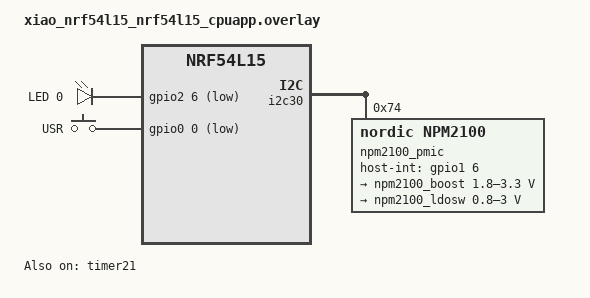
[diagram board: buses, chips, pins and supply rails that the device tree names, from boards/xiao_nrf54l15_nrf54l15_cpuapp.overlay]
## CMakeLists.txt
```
# SPDX-License-Identifier: Apache-2.0

cmake_minimum_required(VERSION 3.20.0)
find_package(Zephyr REQUIRED HINTS $ENV{ZEPHYR_BASE})
project(factory_test)

FILE(GLOB app_sources src/*.c)
target_sources(app PRIVATE ${app_sources})
```

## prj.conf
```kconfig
CONFIG_LOG=y
CONFIG_LOG_DEFAULT_LEVEL=3
CONFIG_PRINTK=y

CONFIG_SERIAL=y
CONFIG_UART_CONSOLE=y

CONFIG_SHELL=y
CONFIG_SHELL_BACKEND_SERIAL=y

CONFIG_GPIO=y
CONFIG_GPIO_SHELL=y
CONFIG_I2C=y
CONFIG_I2C_SHELL=y
CONFIG_REGULATOR=y

CONFIG_REBOOT=y
CONFIG_DK_LIBRARY=y

# Bluetooth (scan + advertise)
CONFIG_BT=y
CONFIG_BT_DEVICE_NAME="nPM2100&nRF54L15-BLE"
CONFIG_BT_OBSERVER=y
CONFIG_BT_BROADCASTER=y

# NFC (Type 2 Tag)
CONFIG_NFC_T2T_NRFXLIB=y
CONFIG_NFC_NDEF=y
CONFIG_NFC_NDEF_MSG=y
CONFIG_NFC_NDEF_RECORD=y
CONFIG_NFC_NDEF_TEXT_RECORD=y

# Memory/stack headroom for shell + BT + NFC
CONFIG_HEAP_MEM_POOL_SIZE=8192
CONFIG_MAIN_STACK_SIZE=2048

CONFIG_PM_DEVICE=y
CONFIG_CRC=y
CONFIG_POWEROFF=y
CONFIG_HWINFO=y

# GRTC counter for RTC test
CONFIG_COUNTER=y
CONFIG_NRFX_GRTC=y

# Enable floating-point support in logging
CONFIG_CBPRINTF_FP_SUPPORT=y
```

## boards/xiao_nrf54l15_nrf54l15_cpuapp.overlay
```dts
/ {

	leds {
		compatible = "gpio-leds";

		led0: led_0 {
			gpios = <&gpio2 6 GPIO_ACTIVE_LOW>;
			label = "LED 0";
		};
	};

	buttons: buttons {
		compatible = "gpio-keys";

		usr_btn: usr-btn {
			gpios = <&gpio0 0 (GPIO_PULL_UP | GPIO_ACTIVE_LOW)>;
			label = "USR";
		};
	};

	aliases {
		led0 = &led0;
		sw0 = &usr_btn;
	};
};


&i2c30 {
	status = "okay";

	npm2100_pmic: pmic@74 {
		compatible = "nordic,npm2100";
		reg = <0x74>;
		pmic-int-pin = <1>;
		pmic-int-flags = <GPIO_ACTIVE_HIGH>;
		host-int-type = "level";
		shiphold-longpress = "ship";

		npm2100_gpio: gpio-controller {
			compatible = "nordic,npm2100-gpio";
			gpio-controller;
			#gpio-cells = <2>;
			ngpios = <2>;
		};

		npm2100_regulators: regulators {
			compatible = "nordic,npm2100-regulator";

			npm2100_boost: BOOST {
				regulator-min-microvolt = <1800000>;
				regulator-max-microvolt = <3300000>;
				regulator-init-microvolt= <3300000>;
				regulator-boot-on;
				regulator-init-microamp = <0>;
			};

			npm2100_ldosw: LDOSW {
				regulator-min-microvolt = <800000>;
				regulator-max-microvolt = <3000000>;
			};
		};

		npm2100_wdt: watchdog {
			compatible = "nordic,npm2100-wdt";
		};

		npm2100_vbat: vbat {
			compatible = "nordic,npm2100-vbat";
		};
	};
};

&npm2100_pmic {
	host-int-gpios = <&gpio1 6 GPIO_ACTIVE_HIGH>;
};

&timer21 {
	status = "okay";
};

&pinctrl {
	uart20_default: uart20_default {
		group1 {
			psels = <NRF_PSEL(UART_TX, 1, 12)>;
		};

		group2 {
			psels = <NRF_PSEL(UART_RX, 1, 11)>;
			bias-pull-up;
		};
	};

	uart20_sleep: uart20_sleep {
		group1 {
			psels = <NRF_PSEL(UART_TX, 1, 12)>,
				<NRF_PSEL(UART_RX, 1, 11)>;
			low-power-enable;
		};
	};
};
```

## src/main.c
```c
#include <zephyr/kernel.h>
#include <zephyr/device.h>
#include <zephyr/drivers/gpio.h>
#include <zephyr/logging/log.h>
#include <zephyr/shell/shell.h>
#include <zephyr/sys/atomic.h>
#include <zephyr/sys/printk.h>
#include <zephyr/sys/reboot.h>
#include <zephyr/sys/poweroff.h>
#include <zephyr/sys/util.h>

#include <string.h>

#include <zephyr/bluetooth/bluetooth.h>
#include <zephyr/bluetooth/hci.h>

#include <nfc_t2t_lib.h>
#include <nfc/ndef/msg.h>
#include <nfc/ndef/text_rec.h>

#include <zephyr/drivers/mfd/npm2100.h>
#include <zephyr/drivers/regulator.h>
#include <zephyr/drivers/timer/nrf_grtc_timer.h>
#include <zephyr/drivers/i2c.h>

#include <stdlib.h>
#include <zephyr/drivers/clock_control.h>
#include <zephyr/drivers/clock_control/nrf_clock_control.h>
#include <zephyr/drivers/counter.h>
#include <zephyr/sys/timeutil.h>

#define DEEP_SLEEP_TIME_S 5
#define MEASURE_TIME_S 10
#define SCAN_TIMEOUT_S 5
#define MAX_SCANNED_DEVICES 20

LOG_MODULE_REGISTER(factory_test, LOG_LEVEL_INF);

static void scan_print_and_reset(int batch_size);

enum factory_mode {
	FACTORY_MODE_WORK = 0,
	FACTORY_MODE_TEST = 1,
};

static atomic_t g_mode = ATOMIC_INIT(FACTORY_MODE_WORK);
static atomic_t g_bt_scan_running;
static atomic_t g_bt_adv_running;
static atomic_t g_nfc_running;
static atomic_t g_nfc_active;

struct scanned_device {
	bt_addr_le_t addr;
	int8_t rssi;
	uint8_t type;
	char name[30];  // Buffer for device name, adjust size if needed (max BLE name length is 29 + null)
};

static struct scanned_device devices[MAX_SCANNED_DEVICES];
static int device_count = 0;
static int device_index = 0;
static struct k_timer scan_print_timer;

static const struct device *pmic = DEVICE_DT_GET(DT_NODELABEL(npm2100_pmic));
static const struct device *regulators = DEVICE_DT_GET(DT_NODELABEL(npm2100_regulators));
static bool shipmode;
static bool system_off_flag;
static const struct device *i2c_dev = DEVICE_DT_GET(DT_BUS(DT_NODELABEL(npm2100_pmic)));
static uint8_t pmic_addr = DT_REG_ADDR(DT_NODELABEL(npm2100_pmic));

static const struct device *const sys_clock = DEVICE_DT_GET_ONE(nordic_nrf_clock);
static const struct device *const timer = DEVICE_DT_GET(DT_NODELABEL(timer21));
static bool lfxo_initialized;

static const struct gpio_dt_spec led = GPIO_DT_SPEC_GET_OR(DT_ALIAS(led0), gpios, {0});
static const struct gpio_dt_spec reset_btn = GPIO_DT_SPEC_GET_OR(DT_ALIAS(sw0), gpios, {0});
static struct gpio_callback reset_btn_cb;

static const struct gpio_dt_spec pmic_int_pin = GPIO_DT_SPEC_GET_BY_IDX(DT_NODELABEL(npm2100_pmic), host_int_gpios, 0);
static struct gpio_callback pmic_int_cb;
static struct k_work pmic_int_work;

static void reset_btn_isr(const struct device *dev, struct gpio_callback *cb, uint32_t pins)
{
	ARG_UNUSED(dev);
	ARG_UNUSED(cb);
	ARG_UNUSED(pins);
	LOG_WRN("Reset button pressed -> reboot");
	sys_reboot(SYS_REBOOT_COLD);
}

static void pmic_int_isr(const struct device *dev, struct gpio_callback *cb, uint32_t pins)
{
	ARG_UNUSED(dev);
	ARG_UNUSED(cb);
	ARG_UNUSED(pins);

	k_work_submit(&pmic_int_work);
}

static void pmic_int_work_handler(struct k_work *work)
{
	ARG_UNUSED(work);

	// Read EVENTS_GPIO_SET (0x02)
	uint8_t events;
	int ret = i2c_reg_read_byte(i2c_dev, pmic_addr, 0x02, &events);
	if (ret) {
		LOG_ERR("Failed to read EVENTS_GPIO_SET: %d", ret);
		return;
	}

	if (events & 0x01) { // GPIO0FALL
		LOG_INF("PMIC GPIO0 falling edge detected");
	}
	if (events & 0x02) { // GPIO0RISE
		LOG_INF("PMIC GPIO0 rising edge detected");
	}

	// Clear events by writing to EVENTS_GPIO_CLR (0x07)
	ret = i2c_reg_write_byte(i2c_dev, pmic_addr, 0x07, events & 0x03);
	if (ret) {
		LOG_ERR("Failed to clear events: %d", ret);
	}
}

static int reset_button_init(void)
{
	int err;

	if (!gpio_is_ready_dt(&reset_btn)) {
		LOG_ERR("Reset button GPIO not ready");
		return -ENODEV;
	}

	err = gpio_pin_configure_dt(&reset_btn, GPIO_INPUT);
	if (err) {
		LOG_ERR("Reset button configure failed: %d", err);
		return err;
	}

	err = gpio_pin_interrupt_configure_dt(&reset_btn, GPIO_INT_EDGE_TO_ACTIVE);
	if (err) {
		LOG_ERR("Reset button interrupt config failed: %d", err);
		return err;
	}

	gpio_init_callback(&reset_btn_cb, reset_btn_isr, BIT(reset_btn.pin));
	err = gpio_add_callback(reset_btn.port, &reset_btn_cb);
	if (err) {
		LOG_ERR("Reset button add callback failed: %d", err);
		return err;
	}

	return 0;
}

static int pmic_int_init(void)
{
	int err;

	k_work_init(&pmic_int_work, pmic_int_work_handler);

	if (!gpio_is_ready_dt(&pmic_int_pin)) {
		LOG_ERR("PMIC INT GPIO not ready");
		return -ENODEV;
	}

	err = gpio_pin_configure_dt(&pmic_int_pin, GPIO_INPUT);
	if (err) {
		LOG_ERR("PMIC INT GPIO configure failed: %d", err);
		return err;
	}

	err = gpio_pin_interrupt_configure_dt(&pmic_int_pin, GPIO_INT_EDGE_TO_ACTIVE);
	if (err) {
		LOG_ERR("PMIC INT GPIO interrupt config failed: %d", err);
		return err;
	}

	gpio_init_callback(&pmic_int_cb, pmic_int_isr, BIT(pmic_int_pin.pin));
	err = gpio_add_callback(pmic_int_pin.port, &pmic_int_cb);
	if (err) {
		LOG_ERR("PMIC INT GPIO add callback failed: %d", err);
		return err;
	}

	return 0;
}

static int led_init(void)
{
	if (!gpio_is_ready_dt(&led)) {
		LOG_WRN("LED not ready; skipping LED blink");
		return -ENODEV;
	}

	return gpio_pin_configure_dt(&led, GPIO_OUTPUT_INACTIVE);
}

static void led_set(bool on)
{
	if (!gpio_is_ready_dt(&led)) {
		return;
	}
	(void)gpio_pin_set_dt(&led, on ? 1 : 0);
}

static void led_toggle(void)
{
	if (!gpio_is_ready_dt(&led)) {
		return;
	}
	(void)gpio_pin_toggle_dt(&led);
}

static void led_worker_thread(void)
{
	while (true) {
		if (atomic_get(&g_mode) == FACTORY_MODE_WORK) {
			led_toggle();
			k_sleep(K_MSEC(500));
		} else {
			if (!atomic_get(&g_nfc_active)) {
				led_set(true);
			}
			k_sleep(K_MSEC(200));
		}
	}
}

K_THREAD_DEFINE(led_thread_id, 768, led_worker_thread, NULL, NULL, NULL, 5, 0, 0);

static void scan_print_timer_handler(struct k_timer *timer)
{
	ARG_UNUSED(timer);
	if (device_count > 0 && device_count < 10) {
		scan_print_and_reset(device_count);  // Print all current devices
	}
}

static void scan_print_and_reset(int batch_size)
{
	if (device_count == 0) {
		return;
	}

	int print_count = MIN(device_count, batch_size);
	printk("Scanned devices (batch of %d):\n", print_count);
	int start = (device_index - device_count + MAX_SCANNED_DEVICES) % MAX_SCANNED_DEVICES;
	for (int i = 0; i < print_count; i++) {
		int idx = (start + i) % MAX_SCANNED_DEVICES;
		char addr_str[BT_ADDR_LE_STR_LEN];
		bt_addr_le_to_str(&devices[idx].addr, addr_str, sizeof(addr_str));
		printk("  %s RSSI %d dBm type 0x%02x name %s\n", addr_str, devices[idx].rssi, devices[idx].type, devices[idx].name);
	}
	// Shift the remaining devices to the beginning if any
	if (device_count > print_count) {
		for (int i = 0; i < device_count - print_count; i++) {
			int old_idx = (start + print_count + i) % MAX_SCANNED_DEVICES;
			int new_idx = i;
			devices[new_idx] = devices[old_idx];
		}
		device_index = device_count - print_count;
		device_count -= print_count;
	} else {
		device_count = 0;
		device_index = 0;
	}
}

static _Bool parse_device_name(struct bt_data *data, void *user_data)
{
	char *name = user_data;

	if (data->type == BT_DATA_NAME_COMPLETE || data->type == BT_DATA_NAME_SHORTENED) {
		strncpy(name, (const char *)data->data, MIN(data->data_len, sizeof(devices[0].name) - 1));
		name[MIN(data->data_len, sizeof(devices[0].name) - 1)] = '\0';
		return false;  // Stop parsing once name is found
	}

	return true;  // Continue parsing
}

static void bt_device_found(const bt_addr_le_t *addr, int8_t rssi, uint8_t type,
			    struct net_buf_simple *ad)
{
	if (atomic_get(&g_mode) != FACTORY_MODE_TEST) {
		return;
	}

	// Filter: Only process public addresses
	// if (addr->type != BT_ADDR_LE_PUBLIC) {
	// 	return;
	// }

	char temp_name[30] = {0};
	// Parse advertising data for name
	bt_data_parse(ad, parse_device_name, temp_name);

	// Only add if name is not empty
	if (strlen(temp_name) == 0) {
		return;
	}

	// Check if device already exists in the list
	int existing_index = -1;
	for (int i = 0; i < device_count; i++) {
		int idx = (device_index - device_count + i + MAX_SCANNED_DEVICES) % MAX_SCANNED_DEVICES;
		if (bt_addr_le_cmp(&devices[idx].addr, addr) == 0) {
			existing_index = idx;
			break;
		}
	}

	if (existing_index != -1) {
		// Update existing device with new RSSI and type (keep the latest)
		devices[existing_index].rssi = rssi;
		devices[existing_index].type = type;
		// Optionally update name if it changed, but for simplicity, keep the first name
		return;
	}

	// Add new device if not full
	if (device_count < MAX_SCANNED_DEVICES) {
		devices[device_index].addr = *addr;
		devices[device_index].rssi = rssi;
		devices[device_index].type = type;
		strcpy(devices[device_index].name, temp_name);
		device_index = (device_index + 1) % MAX_SCANNED_DEVICES;
		device_count++;
	} else {
		// If full, replace the oldest (circular buffer behavior)
		int oldest_idx = (device_index - device_count + MAX_SCANNED_DEVICES) % MAX_SCANNED_DEVICES;
		devices[oldest_idx].addr = *addr;
		devices[oldest_idx].rssi = rssi;
		devices[oldest_idx].type = type;
		strcpy(devices[oldest_idx].name, temp_name);
		device_index = (device_index + 1) % MAX_SCANNED_DEVICES;
	}

	// Print every 10 devices
	if (device_count % 10 == 0) {
		k_timer_stop(&scan_print_timer);  // Cancel any active timeout
		scan_print_and_reset(10);
	} else if (device_count == 1) {  // First device, start 5s timeout
		k_timer_start(&scan_print_timer, K_SECONDS(SCAN_TIMEOUT_S), K_NO_WAIT);  // Single timeout
	}
	// If count > 1 but < 10, timeout already started
}

static int bt_stack_ensure_ready(void)
{
	static bool inited;
	static int init_err;

	if (inited) {
		return init_err;
	}

	init_err = bt_enable(NULL);
	if (init_err) {
		LOG_ERR("Bluetooth init failed: %d", init_err);
	} else {
		LOG_INF("Bluetooth initialized");
	}
	inited = true;
	return init_err;
}

static int bt_scan_start(void)
{
	int err = bt_stack_ensure_ready();
	if (err) {
		return err;
	}

	if (atomic_get(&g_bt_scan_running)) {
		return 0;
	}

	struct bt_le_scan_param scan_param = {
		.type = BT_HCI_LE_SCAN_ACTIVE,  // Changed to passive scanning
		.options = BT_LE_SCAN_OPT_FILTER_DUPLICATE,  // Added duplicate filter
		.interval = BT_GAP_SCAN_FAST_INTERVAL,
		.window = BT_GAP_SCAN_FAST_WINDOW,
	};

	err = bt_le_scan_start(&scan_param, bt_device_found);
	if (!err) {
		atomic_set(&g_bt_scan_running, 1);
		device_count = 0;
		device_index = 0;
		k_timer_init(&scan_print_timer, scan_print_timer_handler, NULL);
		// Removed periodic timer start, will use timeout instead
		LOG_INF("BT scan started");
	}
	return err;
}

static int bt_scan_stop(void)
{
	if (!atomic_get(&g_bt_scan_running)) {
		return 0;
	}

	int err = bt_le_scan_stop();
	if (!err) {
		atomic_set(&g_bt_scan_running, 0);
		k_timer_stop(&scan_print_timer);
		// Print any remaining devices on stop
		if (device_count > 0) {
			scan_print_and_reset(device_count);
		}
		device_count = 0;
		device_index = 0;
		LOG_INF("BT scan stopped");
	}
	return err;
}

static const struct bt_data adv_data[] = {
	BT_DATA_BYTES(BT_DATA_FLAGS, (BT_LE_AD_GENERAL | BT_LE_AD_NO_BREDR)),
	BT_DATA(BT_DATA_NAME_COMPLETE, CONFIG_BT_DEVICE_NAME, sizeof(CONFIG_BT_DEVICE_NAME) - 1),
};

static int bt_adv_start(void)
{
	int err = bt_stack_ensure_ready();
	if (err) {
		return err;
	}

	if (atomic_get(&g_bt_adv_running)) {
		return 0;
	}

	err = bt_le_adv_start(BT_LE_ADV_NCONN_IDENTITY, adv_data, ARRAY_SIZE(adv_data), NULL, 0);
	if (!err) {
		atomic_set(&g_bt_adv_running, 1);
		LOG_INF("BT advertising started");
	}

	return err;
}

static int bt_adv_stop(void)
{
	if (!atomic_get(&g_bt_adv_running)) {
		return 0;
	}

	int err = bt_le_adv_stop();
	if (!err) {
		atomic_set(&g_bt_adv_running, 0);
		LOG_INF("BT advertising stopped");
	}
	return err;
}

#define NDEF_MSG_BUF_SIZE 128
static uint8_t ndef_msg_buf[NDEF_MSG_BUF_SIZE];

static void nfc_callback(void *context, nfc_t2t_event_t event, const uint8_t *data, size_t len)
{
	ARG_UNUSED(context);
	ARG_UNUSED(data);
	ARG_UNUSED(len);

	switch (event) {
	case NFC_T2T_EVENT_FIELD_ON:
		if (atomic_get(&g_nfc_active)) {
			led_set(true);
		}
		printk("NFC field on\n");
		break;
	case NFC_T2T_EVENT_FIELD_OFF:
		if (atomic_get(&g_nfc_active)) {
			led_set(false);
		}
		printk("NFC field off\n");
		break;
	default:
		break;
	}
}

static int nfc_start(void)
{
	if (atomic_get(&g_nfc_running)) {
		return 0;
	}

	int err = nfc_t2t_setup(nfc_callback, NULL);
	if (err) {
		LOG_ERR("NFC setup failed: %d", err);
		return err;
	}

	static const uint8_t payload[] = { 'F','A','C','T','O','R','Y','_','T','E','S','T' };
	static const uint8_t lang[] = { 'e', 'n' };

	NFC_NDEF_TEXT_RECORD_DESC_DEF(text_rec, UTF_8, lang, sizeof(lang), payload, sizeof(payload));
	NFC_NDEF_MSG_DEF(msg, 1);

	err = nfc_ndef_msg_record_add(&NFC_NDEF_MSG(msg), &NFC_NDEF_TEXT_RECORD_DESC(text_rec));
	if (err) {
		LOG_ERR("NFC record add failed: %d", err);
		return err;
	}

	uint32_t ndef_len = sizeof(ndef_msg_buf);
	err = nfc_ndef_msg_encode(&NFC_NDEF_MSG(msg), ndef_msg_buf, &ndef_len);
	if (err) {
		LOG_ERR("NFC msg encode failed: %d", err);
		return err;
	}

	err = nfc_t2t_payload_set(ndef_msg_buf, ndef_len);
	if (err) {
		LOG_ERR("NFC payload set failed: %d", err);
		return err;
	}

	err = nfc_t2t_emulation_start();
	if (err) {
		LOG_ERR("NFC emulation start failed: %d", err);
		return err;
	}

	atomic_set(&g_nfc_running, 1);
	// Flash LED once and turn off
	led_toggle();
	k_sleep(K_MSEC(100));
	led_set(false);
	atomic_set(&g_nfc_active, 1);
	LOG_INF("NFC emulation started");
	return 0;
}

static int nfc_stop(void)
{
	if (!atomic_get(&g_nfc_running)) {
		return 0;
	}

	int err = nfc_t2t_emulation_stop();
	if (!err) {
		atomic_set(&g_nfc_running, 0);
		atomic_set(&g_nfc_active, 0);
		led_set(true);  // Restore LED to on in TEST mode
		LOG_INF("NFC emulation stopped");
	}
	return err;
}

static int cmd_lfxo_test(const struct shell *sh, size_t argc, char **argv)
{
	int ret;
	uint32_t top;
	bool measured = false;
	struct timeutil_sync_config sync_config = { 0};
	struct timeutil_sync_state sync_state = { 0 };
	uint64_t counter_ref = 0U;

	ARG_UNUSED(argc);
	ARG_UNUSED(argv);

	if (!lfxo_initialized) {
		shell_error(sh, "LFXO module not initialized");
		return -EPERM;
	}

	ret = clock_control_on(sys_clock, CLOCK_CONTROL_NRF_SUBSYS_HF);
	if (ret < 0) {
		shell_error(sh, "Failed to start HF clock: %d\n", ret);
		return ret;
	}

	sync_config.ref_Hz = counter_get_frequency(timer);
	if (sync_config.ref_Hz == 0) {
		shell_error(sh, "Timer has no fixed frequency");
		return -ENOTSUP;
	}

	top = counter_get_top_value(timer);
	if (top != UINT32_MAX) {
		shell_error(sh, "Timer wraps at %u not at 32 bits", top);
		return -ENOTSUP;
	}

	ret = counter_start(timer);
	if (ret < 0) {
		shell_error(sh, "Failed to start timer: %d\n", ret);
		return ret;
	}

	sync_config.local_Hz = CONFIG_SYS_CLOCK_TICKS_PER_SEC;
	sync_state.cfg = &sync_config;

	shell_print(sh, "Checking timer at %u Hz against ticks at %u Hz\n", sync_config.ref_Hz,
		    sync_config.local_Hz);

	while (!measured) {
		uint32_t ctr;
		float skew;
		struct timeutil_sync_instant inst;

		ret = counter_get_value(timer, &ctr);
		if (ret < 0) {
			shell_error(sh, "Failed to get timer value: %d\n", ret);
			return ret;
		}

		counter_ref += ctr - (uint32_t)counter_ref;
		inst.ref = counter_ref;
		inst.local = k_uptime_ticks();

		ret = timeutil_sync_state_update(&sync_state, &inst);
		if (ret < 0) {
			shell_error(sh, "Sync update error: %d\n", ret);
			return ret;
		}

		if (ret == 0) {
			k_sleep(K_SECONDS(MEASURE_TIME_S));
			continue;
		}

		skew = timeutil_sync_estimate_skew(&sync_state);
		shell_print(sh, "Skew %f ; err %d ppb", (double)skew,
			    timeutil_sync_skew_to_ppb(skew));
		measured = true;
	}

	ret = counter_stop(timer);
	if (ret < 0) {
		shell_error(sh, "Failed to stop timer: %d\n", ret);
		return ret;
	}

	ret = clock_control_off(sys_clock, CLOCK_CONTROL_NRF_SUBSYS_HF);
	if (ret < 0) {
		shell_error(sh, "Failed to stop HF clock: %d\n", ret);
		return ret;
	}

	return 0;
}

static int lfxo_init(void)
{
	if (!device_is_ready(sys_clock) || !device_is_ready(timer)) {
		return -ENODEV;
	}

	lfxo_initialized = true;

	return 0;
}

static int cmd_factory_mode(const struct shell *shell, size_t argc, char **argv)
{
	ARG_UNUSED(argc);

	if (!strcmp(argv[1], "work")) {
		(void)bt_scan_stop();
		(void)bt_adv_stop();
		(void)nfc_stop();
		atomic_set(&g_mode, FACTORY_MODE_WORK);
		shell_print(shell, "Mode: WORK (LED blink)");
		return 0;
	}
	if (!strcmp(argv[1], "test")) {
		atomic_set(&g_mode, FACTORY_MODE_TEST);
		shell_print(shell, "Mode: TEST");
		return 0;
	}

	shell_error(shell, "Usage: factory mode <work|test>");
	return -EINVAL;
}

static int cmd_factory_bt_scan(const struct shell *shell, size_t argc, char **argv)
{
	ARG_UNUSED(argc);

	if (atomic_get(&g_mode) != FACTORY_MODE_TEST) {
		shell_error(shell, "Not in TEST mode");
		return -EPERM;
	}

	int err;
	if (!strcmp(argv[1], "start")) {
		err = bt_scan_start();
		shell_print(shell, "bt scan start: %d", err);
		return err;
	}
	if (!strcmp(argv[1], "stop")) {
		err = bt_scan_stop();
		shell_print(shell, "bt scan stop: %d", err);
		return err;
	}

	shell_error(shell, "Usage: factory bt_scan <start|stop>");
	return -EINVAL;
}

static int cmd_factory_bt_adv(const struct shell *shell, size_t argc, char **argv)
{
	ARG_UNUSED(argc);

	if (atomic_get(&g_mode) != FACTORY_MODE_TEST) {
		shell_error(shell, "Not in TEST mode");
		return -EPERM;
	}

	int err;
	if (!strcmp(argv[1], "start")) {
		err = bt_adv_start();
		shell_print(shell, "bt adv start: %d", err);
		return err;
	}
	if (!strcmp(argv[1], "stop")) {
		err = bt_adv_stop();
		shell_print(shell, "bt adv stop: %d", err);
		return err;
	}

	shell_error(shell, "Usage: factory bt_adv <start|stop>");
	return -EINVAL;
}

static int cmd_factory_nfc(const struct shell *shell, size_t argc, char **argv)
{
	ARG_UNUSED(argc);

	if (atomic_get(&g_mode) != FACTORY_MODE_TEST) {
		shell_error(shell, "Not in TEST mode");
		return -EPERM;
	}

	int err;
	if (!strcmp(argv[1], "start")) {
		err = nfc_start();
		shell_print(shell, "nfc start: %d", err);
		return err;
	}
	if (!strcmp(argv[1], "stop")) {
		err = nfc_stop();
		shell_print(shell, "nfc stop: %d", err);
		return err;
	}

	shell_error(shell, "Usage: factory nfc <start|stop>");
	return -EINVAL;
}

static int cmd_factory_shipmode(const struct shell *shell, size_t argc, char **argv)
{
	ARG_UNUSED(argc);
	ARG_UNUSED(argv);

	if (!device_is_ready(pmic)) {
		shell_error(shell, "PMIC not ready");
		return -ENODEV;
	}

	if (!device_is_ready(regulators)) {
		shell_error(shell, "Regulators not ready");
		return -ENODEV;
	}

	shipmode = true;
	shell_print(shell, "Entering shipping mode...");
	return 0;
}

static int cmd_factory_system_off(const struct shell *shell, size_t argc, char **argv)
{
	ARG_UNUSED(argc);
	ARG_UNUSED(argv);

	if (atomic_get(&g_mode) != FACTORY_MODE_TEST) {
		shell_error(shell, "Not in TEST mode");
		return -EPERM;
	}

	system_off_flag = true;
	shell_print(shell, "Entering system off...");
	return 0;
}

static int cmd_factory_pmic_gpio0(const struct shell *shell, size_t argc, char **argv)
{
	if (argc != 2) {
		shell_error(shell, "Usage: factory pmic_gpio0 <high|low>");
		return -EINVAL;
	}

	if (atomic_get(&g_mode) != FACTORY_MODE_TEST) {
		shell_error(shell, "Not in TEST mode");
		return -EPERM;
	}

	if (!device_is_ready(pmic)) {
		shell_error(shell, "PMIC not ready");
		return -ENODEV;
	}

	if (!device_is_ready(i2c_dev)) {
		shell_error(shell, "I2C device not ready");
		return -ENODEV;
	}

	// Set USAGE0 SEL=0 for GPIO mode
	int ret = i2c_reg_write_byte(i2c_dev, pmic_addr, 0x83, 0x00);
	if (ret) {
		shell_error(shell, "Failed to set USAGE0: %d", ret);
		return ret;
	}

	// Set CONFIG0 OUTPUT=1 to enable output buffer
	ret = i2c_reg_write_byte(i2c_dev, pmic_addr, 0x80, 0x02);
	if (ret) {
		shell_error(shell, "Failed to set CONFIG0: %d", ret);
		return ret;
	}

	// Set OUTPUT0 VALUE based on argument
	uint8_t value = strcmp(argv[1], "high") == 0 ? 1 : 0;
	ret = i2c_reg_write_byte(i2c_dev, pmic_addr, 0x86, value);
	if (ret) {
		shell_error(shell, "Failed to set OUTPUT0: %d", ret);
		return ret;
	}

	shell_print(shell, "PMIC GPIO0 set to %s", argv[1]);
	return 0;
}

static int cmd_factory_pmic_gpio_int_test(const struct shell *shell, size_t argc, char **argv)
{
	if (argc != 1) {
		shell_error(shell, "Usage: factory pmic_gpio_int_test");
		return -EINVAL;
	}

	if (atomic_get(&g_mode) != FACTORY_MODE_TEST) {
		shell_error(shell, "Not in TEST mode");
		return -EPERM;
	}

	if (!device_is_ready(pmic)) {
		shell_error(shell, "PMIC not ready");
		return -ENODEV;
	}

	if (!device_is_ready(i2c_dev)) {
		shell_error(shell, "I2C device not ready");
		return -ENODEV;
	}

	// Step 1: Set USAGE0 SEL=0 for GPIO mode
	int ret = i2c_reg_write_byte(i2c_dev, pmic_addr, 0x83, 0x00);
	if (ret) {
		shell_error(shell, "Failed to set USAGE0: %d", ret);
		return ret;
	}

	// Step 2: Set CONFIG0 INPUT=1, enable pull-up and debounce
	// Bit 0: INPUT=1, Bit 4: PULLUP=1, Bit 6: DEBOUNCE=1
	ret = i2c_reg_write_byte(i2c_dev, pmic_addr, 0x80, 0x51);
	if (ret) {
		shell_error(shell, "Failed to set CONFIG0: %d", ret);
		return ret;
	}

	// Step 3: Enable interrupts for both edges on GPIO0
	// GPIO0FALL (Bit 0) and GPIO0RISE (Bit 1)
	ret = i2c_reg_write_byte(i2c_dev, pmic_addr, 0x0C, 0x03);
	if (ret) {
		shell_error(shell, "Failed to set INTEN_GPIO_SET: %d", ret);
		return ret;
	}

	shell_print(shell, "PMIC GPIO0 interrupt test configured. Toggle GPIO0 to trigger interrupts.");
	return 0;
}

SHELL_STATIC_SUBCMD_SET_CREATE(factory_cmds,
	SHELL_CMD_ARG(mode, NULL, "Switch mode: work|test", cmd_factory_mode, 2, 0),
	SHELL_CMD_ARG(bt_scan, NULL, "Bluetooth scan: start|stop", cmd_factory_bt_scan, 2, 0),
	SHELL_CMD_ARG(bt_adv, NULL, "Bluetooth advertising: start|stop", cmd_factory_bt_adv, 2, 0),
	SHELL_CMD_ARG(nfc, NULL, "NFC emulation: start|stop", cmd_factory_nfc, 2, 0),
	SHELL_CMD_ARG(shipmode, NULL, "Enter shipping mode", cmd_factory_shipmode, 1, 0),
	SHELL_CMD_ARG(system_off, NULL, "Enter system off mode", cmd_factory_system_off, 1, 0),
	SHELL_CMD_ARG(pmic_gpio0, NULL, "Control PMIC GPIO0: high|low", cmd_factory_pmic_gpio0, 2, 0),
	SHELL_CMD(pmic_gpio_int_test, NULL, "Test PMIC GPIO0 interrupt", cmd_factory_pmic_gpio_int_test),
	SHELL_CMD(lfxo_test, NULL, "Test LFXO accuracy", cmd_lfxo_test),
	SHELL_SUBCMD_SET_END
);

SHELL_CMD_REGISTER(factory, &factory_cmds, "Factory test commands", NULL);

int main(void)
{
	int err;

	printk("Factory test firmware start\n");
	printk("Default mode: WORK (LED blink)\n");
	printk("Type 'factory mode test' to enter TEST mode\n");

	err = led_init();
	if (err && err != -ENODEV) {
		LOG_ERR("LED init failed: %d", err);
	}

	err = reset_button_init();
	if (err) {
		LOG_ERR("Reset button init failed: %d", err);
	}

	err = pmic_int_init();
	if (err) {
		LOG_ERR("PMIC INT init failed: %d", err);
	}

	err = lfxo_init();
	if (err && err != -ENODEV) {
		LOG_ERR("LFXO init failed: %d", err);
	}

	while (1) {
		if (shipmode) {
			shipmode = false;
			LOG_INF("Ship mode...");
			int ret = regulator_parent_ship_mode(regulators);
			if (ret < 0) {
				LOG_ERR("Failed to enter ship mode: %d", ret);
			}
		}
		if (system_off_flag) {
			system_off_flag = false;
			led_set(false);  // Turn off LED before system off
			int err = z_nrf_grtc_wakeup_prepare(DEEP_SLEEP_TIME_S * USEC_PER_SEC);
			if (err < 0) {
				LOG_ERR("Unable to prepare GRTC as a wake up source (err = %d)", err);
			} else {
				LOG_INF("System off; wait %u seconds to restart", DEEP_SLEEP_TIME_S);
				sys_poweroff();
			}
		}
		k_sleep(K_MSEC(1000));
	}

	return 0;
}
```
